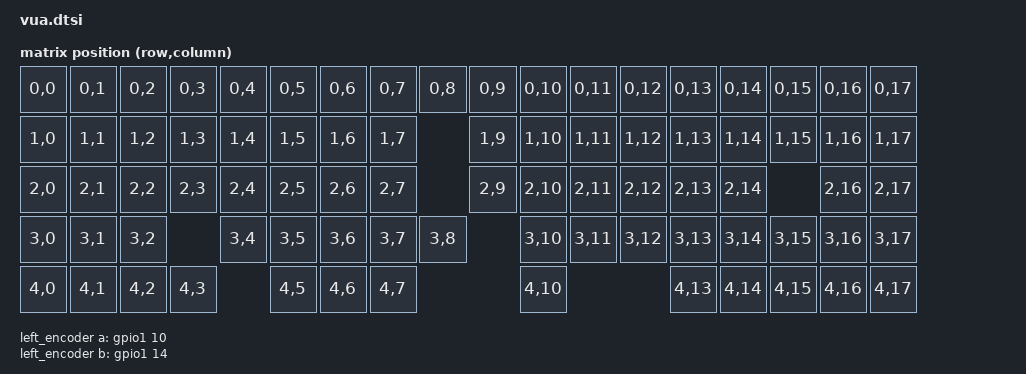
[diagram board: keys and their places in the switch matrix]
/*
*
* Copyright (c) 2021 Darryl deHaan
* SPDX-License-Identifier: MIT
*
*/
#include <dt-bindings/led/led.h>
#include <dt-bindings/zmk/matrix_transform.h>
#include "vua_layouts.dtsi"

/ {

    chosen {
        zmk,kscan = &kscan0;
        zmk,battery = &vbatt;
        zmk,physical-layout = &vua_layout;
        zmk,underglow = &led_strip;
        zmk,backlight = &backlight;

    };

	left_encoder: encoder_left {
		compatible = "alps,ec11";
		label = "LEFT_ENCODER";
        steps = <24>;
        a-gpios = <&gpio1 10 (GPIO_ACTIVE_HIGH | GPIO_PULL_UP)>;
	    b-gpios = <&gpio1 14 (GPIO_ACTIVE_HIGH | GPIO_PULL_UP)>;
		status = "disabled";
	};

    backlight: pwmleds {
        compatible = "pwm-leds";
        pwm_led_0 {
            pwms = <&pwm0 0 PWM_MSEC(1) PWM_POLARITY_NORMAL>;
        };
    };

    sensors {
		compatible = "zmk,keymap-sensors";
		sensors = <&left_encoder>;
	};

    kscan0: kscan {
        wakeup-source;
        diode-direction = "row2col";
    };
    
    EXT_POWER {
        compatible = "zmk,ext-power-generic";
        control-gpios = <&gpio0 13 GPIO_ACTIVE_HIGH>;
        init-delay-ms = <50>;
    };

    vbatt: vbatt {
        compatible = "zmk,battery-nrf-vddh";
    };

    default_transform: keymap_transform_0 {
        compatible = "zmk,matrix-transform";
        columns = <18>;
        rows = <5>;
        map = <
            RC(0,0) RC(0,1)   RC(0,2) RC(0,3) RC(0,4) RC(0,5) RC(0,6) RC(0,7) RC(0,8)       RC(0,9) RC(0,10) RC(0,11) RC(0,12) RC(0,13) RC(0,14) RC(0,15) RC(0,16) RC(0,17)
            RC(1,0) RC(1,1)   RC(1,2) RC(1,3) RC(1,4) RC(1,5) RC(1,6) RC(1,7)               RC(1,9) RC(1,10) RC(1,11) RC(1,12) RC(1,13) RC(1,14) RC(1,15) RC(1,16) RC(1,17)
            RC(2,0) RC(2,1)	  RC(2,2) RC(2,3) RC(2,4) RC(2,5) RC(2,6) RC(2,7)	            RC(2,9) RC(2,10) RC(2,11) RC(2,12) RC(2,13) RC(2,14)          RC(2,16) RC(2,17) 
            RC(3,0) RC(3,1)	  RC(3,2)         RC(3,4) RC(3,5) RC(3,6) RC(3,7) RC(3,8)               RC(3,10) RC(3,11) RC(3,12) RC(3,13) RC(3,14) RC(3,15) RC(3,16) RC(3,17)
            RC(4,0) RC(4,1)	  RC(4,2) RC(4,3)         RC(4,5) RC(4,6) RC(4,7)                       RC(4,10)                   RC(4,13) RC(4,14) RC(4,15) RC(4,16) RC(4,17)
        >;
    };
};


zephyr_udc0: &usbd {
    compatible = "nordic,nrf-usbd";
    status = "okay";
};

&pinctrl {

    spi3_default: spi3_default {
        group1 {
            psels = <NRF_PSEL(SPIM_MOSI, 1, 12)>; // WS2812_VEXT_DATA
        };
    };

    spi3_sleep: spi3_sleep {
        group1 {
            psels = <NRF_PSEL(SPIM_MOSI, 1, 12)>;
            low-power-enable;
        };
    };
    pwm0_default: pwm0_default {
        group1 {
            psels = <NRF_PSEL(PWM_OUT0, 1, 13)>;
        };
    };
    pwm0_sleep: pwm0_sleep {
        group1 {
            psels = <NRF_PSEL(PWM_OUT0, 1, 13)>;
            low-power-enable;
        };
    };
};

&spi3 {
    compatible = "nordic,nrf-spim";
    status = "okay";

    pinctrl-0 = <&spi3_default>;
    pinctrl-1 = <&spi3_sleep>;
    pinctrl-names = "default", "sleep";

    led_strip: ws2812@0 {
        compatible = "worldsemi,ws2812-spi";

        /* SPI */
        reg = <0>; /* ignored, but necessary for SPI bindings */
        spi-max-frequency = <4000000>;

        /* WS2812 */
        chain-length = <7>; /* 6 keys have underglow at the moment */
        spi-one-frame = <0x70>;
        spi-zero-frame = <0x40>;

        color-mapping = <LED_COLOR_ID_GREEN LED_COLOR_ID_RED LED_COLOR_ID_BLUE>;
    };
};

&pwm0 {
    status = "okay";
    pinctrl-0 = <&pwm0_default>;
    pinctrl-1 = <&pwm0_sleep>;
    pinctrl-names = "default", "sleep";
};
